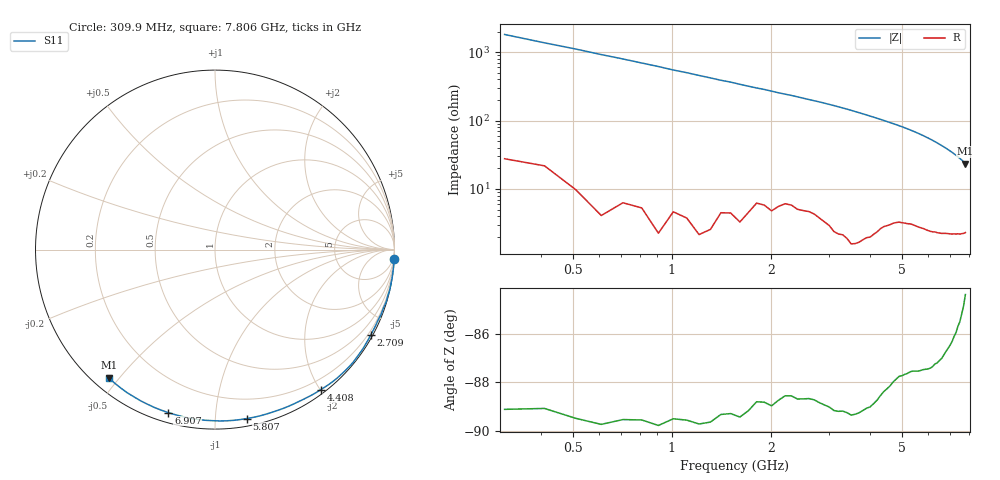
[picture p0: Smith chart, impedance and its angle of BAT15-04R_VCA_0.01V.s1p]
! Infineon Technologies  Discrete & RF Semiconductors
! BAT15-04R
! VCA = 0.01 V
! One-Port S-Parameters
# Hz  S  MA  R  50
!f  S11
!Hz  Mag  Ang
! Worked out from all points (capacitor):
!   76 points, 309.9 MHz to 7.806 GHz, reference 50 ohm
!   read as one part to ground: C = 283 fF near 309.9 MHz
!   lowest |Z| = 23.6 ohm at 7.806 GHz (marker M1)
!   S11 on the Smith chart (normalised r, x): 309.9 MHz: 1, -36; 2.709 GHz: 0.09, -3.89; 4.408 GHz: 0.06, -2.01; 5.807 GHz: 0.05, -1.21; 6.907 GHz: 0.04, -0.75; 7.806 GHz: 0.05, -0.47
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3.0985e8  0.9992 -3.2
9.0955e8  0.9994 -9.3
1.30935e9  0.9986 -13.6
1.6092e9  0.9972 -16.8
2.009e9  0.9936 -21.1
2.2089e9  0.9902 -23.2
2.4088e9  0.9903 -25.4
2.70865e9  0.9894 -28.8
2.90855e9  0.9905 -31.1
3.2084e9  0.9921 -34.9
3.50825e9  0.993 -39.0
3.70815e9  0.9915 -42.0
4.10795e9  0.9856 -48.1
4.4078e9  0.9778 -53.0
4.70765e9  0.9708 -58.0
5.0075e9  0.9653 -63.2
5.30735e9  0.9612 -68.9
5.6072e9  0.9595 -75.0
5.8071e9  0.9578 -79.3
6.007e9  0.9568 -83.8
6.2069e9  0.955 -88.5
6.50675e9  0.9512 -95.9
6.70665e9  0.948 -100.9
6.90655e9  0.9448 -105.9
7.10645e9  0.9421 -111.0
7.30635e9  0.9388 -116.2
7.6062e9  0.9329 -124.2
7.8061e9  0.9273 -129.7
